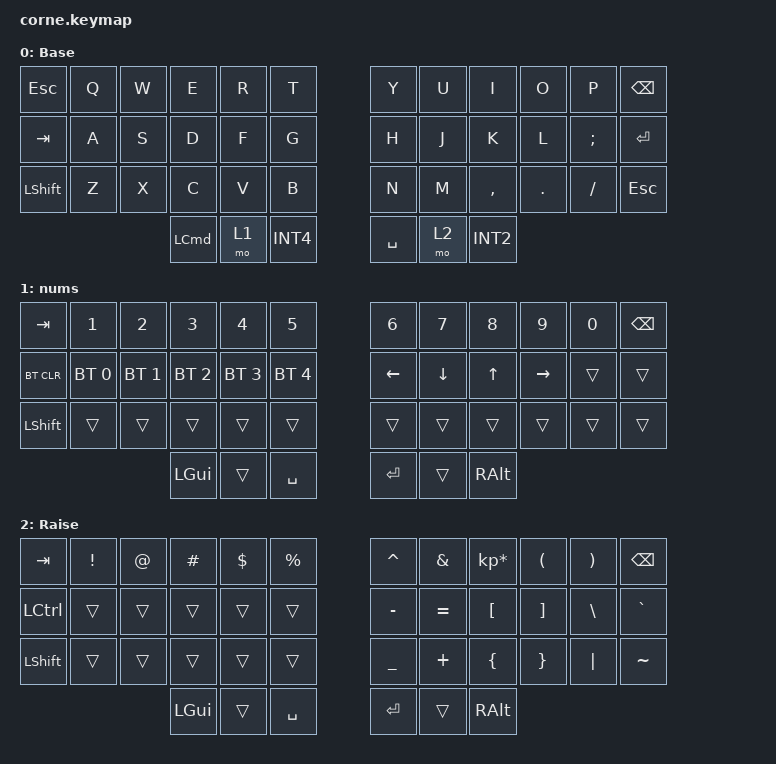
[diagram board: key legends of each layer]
/*
 * Copyright (c) 2020 The ZMK Contributors
 *
 * SPDX-License-Identifier: MIT
 */

#include <behaviors.dtsi>
#include <dt-bindings/zmk/keys.h>
#include <dt-bindings/zmk/bt.h>

#define DEFAULT 0
#define LOWER   1
#define RAISE   2

/ {
        keymap {
                compatible = "zmk,keymap";

                default_layer {
// -----------------------------------------------------------------------------------------
// | ESC  |  Q  |  W  |  E  |  R  |  T  |   |  Y  |  U   |  I  |  O  |  P  | BKSP |
// | TAB  |  A  |  S  |  D  |  F  |  G  |   |  H  |  J   |  K  |  L  |  ;  | ENT  |
// | SHFT |  Z  |  X  |  C  |  V  |  B  |   |  N  |  M   |  ,  |  .  |  /  | ESC  |
//                    | GUI | LWR | ENG |   | SPC | RSE  | JP  |
                        display-name = "Base";
                        bindings = <
   &kp ESC   &kp Q &kp W &kp E &kp R &kp T   &kp Y     &kp U  &kp I     &kp O   &kp P    &kp BSPC
   &kp TAB   &kp A &kp S &kp D &kp F &kp G   &kp H     &kp J  &kp K     &kp L   &kp SEMI &kp RET
   &kp LSHFT &kp Z &kp X &kp C &kp V &kp B   &kp N     &kp M  &kp COMMA &kp DOT &kp FSLH &kp ESC
                  &kp LCMD &mo 1  &kp INT4 &kp SPACE &mo 2 &kp INT2
                        >;
                };
                nums_layer {
// -----------------------------------------------------------------------------------------
// |  TAB |  1  |  2  |  3  |  4  |  5  |   |  6  |  7  |  8  |  9  |  0  | BKSP |
// | BTCLR| BT1 | BT2 | BT3 | BT4 | BT5 |   | LFT | DWN |  UP | RGT |     |      |
// | SHFT |     |     |     |     |     |   |     |     |     |     |     |      |
//                    | GUI |     | SPC |   | ENT |     | ALT |
                        display-name = "nums";
                        bindings = <
   &kp TAB    &kp N1       &kp N2       &kp N3       &kp N4       &kp N5         &kp N6   &kp N7   &kp N8 &kp N9    &kp N0 &kp BSPC
   &bt BT_CLR &bt BT_SEL 0 &bt BT_SEL 1 &bt BT_SEL 2 &bt BT_SEL 3 &bt BT_SEL 4   &kp LEFT &kp DOWN &kp UP &kp RIGHT &trans &trans
   &kp LSHFT  &trans       &trans       &trans       &trans       &trans         &trans   &trans   &trans &trans    &trans &trans
                          	        &kp LGUI     &trans       &kp SPACE      &kp RET  &trans   &kp RALT
                        >;
                };

                raise_layer {
// -----------------------------------------------------------------------------------------
// |  TAB |  !  |  @  |  #  |  $  |  %  |   |  ^  |  &  |  *  |  (  |  )  | BKSP |
// | CTRL |     |     |     |     |     |   |  -  |  =  |  [  |  ]  |  \  |  `   |
// | SHFT |     |     |     |     |     |   |  _  |  +  |  {  |  }  | "|" |  ~   |
//                    | GUI |     | SPC |   | ENT |     | ALT |
                        display-name = "Raise";
                        bindings = <
   &kp  TAB  &kp EXCL &kp AT &kp HASH &kp DLLR &kp PRCNT   &kp CARET &kp AMPS  &kp KP_MULTIPLY &kp LPAR &kp RPAR &kp BSPC
   &kp LCTRL &trans   &trans &trans   &trans   &trans      &kp MINUS &kp EQUAL &kp LBKT        &kp RBKT &kp BSLH &kp GRAVE
   &kp LSHFT &trans   &trans &trans   &trans   &trans      &kp UNDER &kp PLUS  &kp LBRC        &kp RBRC &kp PIPE &kp TILDE
                    	     &kp LGUI &trans   &kp SPACE   &kp RET   &trans    &kp RALT
                        >;
                };
        };
};
